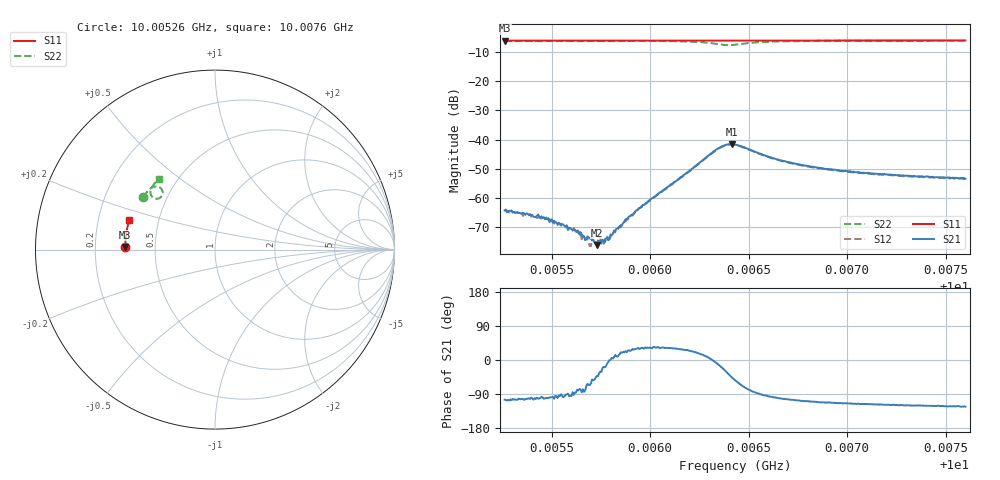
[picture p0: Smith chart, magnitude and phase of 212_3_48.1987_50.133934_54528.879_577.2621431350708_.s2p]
#  HZ  S  RI  R  50.00
! Rohde & Schwarz Vector Network Analyzer
! Rohde-Schwarz,ZNB20-2Port,1311601062101988,3.16
! Created: UTC 3/20/2024, 11:45:35 AM
! freq[Hz]  re:S11  im:S11  re:S21  im:S21  re:S12  im:S12  re:S22  im:S22
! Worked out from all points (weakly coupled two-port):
!   401 points, 10.00526 GHz to 10.0076 GHz, reference 50 ohm
!   highest |S21| = -41.57 dB at 10.00641 GHz (marker M1); lowest = -76.2 dB at 10.00573 GHz (marker M2)
!   lowest |S11| = -6.0 dB at 10.00526 GHz (marker M3), VSWR 3.00, Z = 16.7 + j0.641 ohm
!   |S11| at or under -10 dB: nowhere
!   |S22| runs from -7.5 to -6.0 dB; largest |S21 - S12| = 0.00049
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1.0005261e10  -0.5 0.0144  -0.000154 -0.000589  -0.000133 -0.000585  -0.3995 0.2934
1.0005472e10  -0.4998 0.0282  -7.62e-05 -0.00045  -2.84e-05 -0.000435  -0.3908 0.3058
1.0005501e10  -0.4999 0.0302  -6.09e-05 -0.000422  -4.29e-05 -0.000405  -0.3894 0.3077
1.0005606e10  -0.4996 0.037  2.47e-05 -0.000279  1.29e-05 -0.000272  -0.3847 0.314
1.0005653e10  -0.4994 0.0399  1.85e-05 -0.000232  5.41e-05 -0.000185  -0.3823 0.3169
1.0005665e10  -0.4994 0.0407  2.19e-05 -0.00021  7.64e-05 -0.0002  -0.3818 0.3177
1.0005688e10  -0.4994 0.0423  8.58e-05 -0.000188  7.16e-05 -0.000149  -0.3805 0.319
1.0005717e10  -0.4993 0.0441  0.000109 -0.000137  0.000119 -0.000126  -0.379 0.3208
1.0005729e10  -0.4991 0.045  0.000114 -0.000104  0.000124 -0.000105  -0.3783 0.3216
1.0005764e10  -0.499 0.0473  0.000166 -5.44e-05  0.000151 -5.71e-05  -0.3765 0.3238
1.0005782e10  -0.4989 0.0484  0.000205 -3.52e-05  0.000212 -3.25e-05  -0.3756 0.325
1.0005887e10  -0.4985 0.0552  0.000411 0.00019  0.000375 0.000198  -0.3688 0.332
1.000594e10  -0.4981 0.0586  0.000548 0.000344  0.000529 0.000339  -0.365 0.3354
1.0006045e10  -0.4976 0.0653  0.00101 0.000648  0.000947 0.000681  -0.3556 0.3427
1.0006337e10  -0.4947 0.0841  0.00672 -0.000957  0.00658 -0.000641  -0.2932 0.3288
1.0006378e10  -0.4942 0.0865  0.00711 -0.00362  0.00715 -0.00322  -0.2935 0.3041
1.0006413e10  -0.494 0.0885  0.00589 -0.00591  0.00609 -0.00548  -0.3086 0.2872
1.0006431e10  -0.4938 0.0894  0.00492 -0.00656  0.00514 -0.00618  -0.3188 0.2836
1.0006647e10  -0.4922 0.1034  -0.00081 -0.00451  -0.000587 -0.00444  -0.3592 0.3268
1.0006823e10  -0.4901 0.1146  -0.00117 -0.00322  -0.000993 -0.00319  -0.3516 0.348
1.0007214e10  -0.4846 0.1393  -0.00119 -0.0022  -0.00108 -0.00222  -0.3311 0.3746
1.00076e10  -0.4778 0.1632  -0.00116 -0.00178  -0.00104 -0.00184  -0.3114 0.3942
